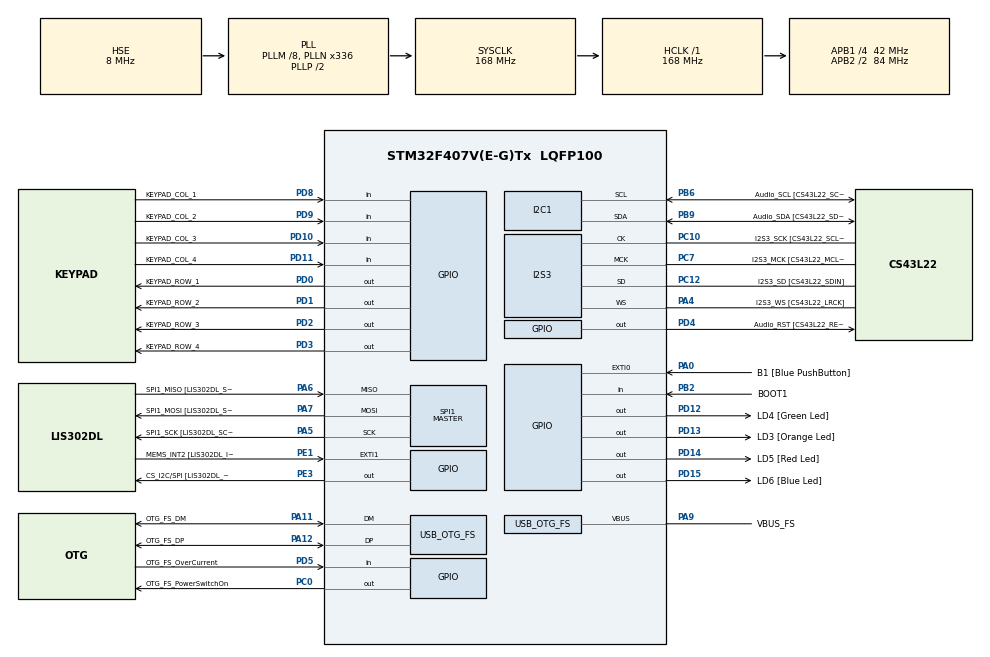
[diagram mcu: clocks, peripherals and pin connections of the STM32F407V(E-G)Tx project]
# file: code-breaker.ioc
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I2S3.AudioFreq-Half_Duplex_Master=I2S_AUDIOFREQ_96K
I2S3.ErrorAudioFreq=-2.34 %
I2S3.ErrorAudioFreq-Half_Duplex_Master=0.8 %
I2S3.FullDuplexMode=I2S_FULLDUPLEXMODE_DISABLE
I2S3.Instance=SPI$Index
I2S3.RealAudioFreq=93.75 KHz
I2S3.RealAudioFreq-Half_Duplex_Master=96.774 KHz
I2S3.VirtualMode=I2S_MODE_MASTER
Mcu.Family=STM32F4
Mcu.Name=STM32F407V(E-G)Tx
Mcu.Package=LQFP100
NVIC.OTG_FS_IRQn=true\:0\:0\:false\:false\:true\:true\:true\:true
NVIC.PriorityGroup=NVIC_PRIORITYGROUP_0
PA0-WKUP.GPIO_Label=B1 [Blue PushButton]
PA0-WKUP.GPIO_ModeDefaultEXTI=GPIO_MODE_EVT_RISING
PA0-WKUP.GPIO_PuPd=GPIO_NOPULL
PA0-WKUP.Signal=GPXTI0
PA10.GPIO_Label=OTG_FS_ID
PA10.GPIO_Mode=GPIO_MODE_AF_PP
PA10.GPIO_PuPd=GPIO_NOPULL
PA10.GPIO_Speed=GPIO_SPEED_FREQ_LOW
PA10.Signal=USB_OTG_FS_ID
PA11.GPIO_Label=OTG_FS_DM
PA11.GPIO_Mode=GPIO_MODE_AF_PP
PA11.GPIO_PuPd=GPIO_NOPULL
PA11.GPIO_Speed=GPIO_SPEED_FREQ_LOW
PA11.Mode=Host_Only
PA11.Signal=USB_OTG_FS_DM
PA12.GPIO_Label=OTG_FS_DP
PA12.GPIO_Mode=GPIO_MODE_AF_PP
PA12.GPIO_PuPd=GPIO_NOPULL
PA12.GPIO_Speed=GPIO_SPEED_FREQ_LOW
PA12.Mode=Host_Only
PA12.Signal=USB_OTG_FS_DP
PA13.GPIO_Label=SWDIO
PA13.Mode=Serial_Wire
PA13.Signal=SYS_JTMS-SWDIO
PA14.GPIO_Label=SWCLK
PA14.Mode=Serial_Wire
PA14.Signal=SYS_JTCK-SWCLK
PA4.GPIO_Label=I2S3_WS [CS43L22_LRCK]
PA4.GPIO_Mode=GPIO_MODE_AF_PP
PA4.GPIO_PuPd=GPIO_NOPULL
PA4.GPIO_Speed=GPIO_SPEED_FREQ_LOW
PA4.Mode=Half_Duplex_Master
PA4.Signal=I2S3_WS
PA5.GPIO_Label=SPI1_SCK [LIS302DL_SCL/SPC]
PA5.GPIO_Mode=GPIO_MODE_AF_PP
PA5.GPIO_PuPd=GPIO_NOPULL
PA5.GPIO_Speed=GPIO_SPEED_FREQ_LOW
PA5.Mode=Full_Duplex_Master
PA5.Signal=SPI1_SCK
PA6.GPIO_Label=SPI1_MISO [LIS302DL_SDO]
PA6.GPIO_Mode=GPIO_MODE_AF_PP
PA6.GPIO_PuPd=GPIO_NOPULL
PA6.GPIO_Speed=GPIO_SPEED_FREQ_LOW
PA6.Mode=Full_Duplex_Master
PA6.Signal=SPI1_MISO
PA7.GPIO_Label=SPI1_MOSI [LIS302DL_SDA/SDI/SDO]
PA7.GPIO_Mode=GPIO_MODE_AF_PP
PA7.GPIO_PuPd=GPIO_NOPULL
PA7.GPIO_Speed=GPIO_SPEED_FREQ_LOW
PA7.Mode=Full_Duplex_Master
PA7.Signal=SPI1_MOSI
PA9.GPIO_Label=VBUS_FS
PA9.GPIO_Mode=GPIO_MODE_INPUT
PA9.GPIO_PuPd=GPIO_NOPULL
PA9.Mode=Activate_VBUS
PA9.Signal=USB_OTG_FS_VBUS
PB10.GPIO_Label=CLK_IN [MP45DT02_CLK]
PB10.GPIO_Mode=GPIO_MODE_AF_PP
PB10.GPIO_PuPd=GPIO_NOPULL
PB10.GPIO_Speed=GPIO_SPEED_FREQ_LOW
PB10.Signal=I2S2_CK
PB2.GPIO_Label=BOOT1
PB2.GPIO_Mode=GPIO_MODE_INPUT
PB2.GPIO_PuPd=GPIO_NOPULL
PB2.Signal=GPIO_Input
PB3.GPIO_Label=SWO
PB3.Signal=SYS_JTDO-SWO
PB6.GPIO_Label=Audio_SCL [CS43L22_SCL]
PB6.GPIO_Mode=GPIO_MODE_AF_OD
PB6.GPIO_Pu=GPIO_PULLUP
PB6.GPIO_PuPd=GPIO_NOPULL
PB6.GPIO_Speed=GPIO_SPEED_FREQ_LOW
PB6.Mode=I2C
PB6.Signal=I2C1_SCL
PB9.GPIO_Label=Audio_SDA [CS43L22_SDA]
PB9.GPIO_Mode=GPIO_MODE_AF_OD
PB9.GPIO_Pu=GPIO_PULLUP
PB9.GPIO_PuPd=GPIO_NOPULL
PB9.GPIO_Speed=GPIO_SPEED_FREQ_LOW
PB9.Mode=I2C
PB9.Signal=I2C1_SDA
PC0.GPIO_Label=OTG_FS_PowerSwitchOn
PC0.GPIO_PuPd=GPIO_NOPULL
PC0.GPIO_Speed=GPIO_SPEED_FREQ_LOW
PC0.PinState=GPIO_PIN_SET
PC0.Signal=GPIO_Output
PC10.GPIO_Label=I2S3_SCK [CS43L22_SCLK]
PC10.GPIO_Mode=GPIO_MODE_AF_PP
PC10.GPIO_PuPd=GPIO_NOPULL
PC10.GPIO_Speed=GPIO_SPEED_FREQ_LOW
PC10.Mode=Half_Duplex_Master
PC10.Signal=I2S3_CK
PC12.GPIO_Label=I2S3_SD [CS43L22_SDIN]
PC12.GPIO_Mode=GPIO_MODE_AF_PP
PC12.GPIO_PuPd=GPIO_NOPULL
PC12.GPIO_Speed=GPIO_SPEED_FREQ_LOW
PC12.Mode=Half_Duplex_Master
PC12.Signal=I2S3_SD
PC14-OSC32_IN.GPIO_Label=PC14-OSC32_IN
PC14-OSC32_IN.Mode=LSE-External-Oscillator
PC14-OSC32_IN.Signal=RCC_OSC32_IN
PC15-OSC32_OUT.GPIO_Label=PC15-OSC32_OUT
PC15-OSC32_OUT.Mode=LSE-External-Oscillator
PC15-OSC32_OUT.Signal=RCC_OSC32_OUT
PC3.GPIO_Label=PDM_OUT [MP45DT02_DOUT]
PC3.GPIO_Mode=GPIO_MODE_AF_PP
PC3.GPIO_PuPd=GPIO_NOPULL
PC3.GPIO_Speed=GPIO_SPEED_FREQ_LOW
PC3.Signal=I2S2_SD
PC7.GPIO_Label=I2S3_MCK [CS43L22_MCLK]
PC7.GPIO_Mode=GPIO_MODE_AF_PP
PC7.GPIO_PuPd=GPIO_NOPULL
PC7.GPIO_Speed=GPIO_SPEED_FREQ_LOW
PC7.Mode=Master_Clock_Activated
PC7.Signal=I2S3_MCK
PD0.GPIO_Label=KEYPAD_ROW_1
PD0.GPIO_ModeDefaultOutputPP=GPIO_MODE_OUTPUT_OD
PD0.GPIO_PuPd=GPIO_NOPULL
PD0.PinState=GPIO_PIN_SET
PD0.Signal=GPIO_Output
PD1.GPIO_Label=KEYPAD_ROW_2
PD1.GPIO_ModeDefaultOutputPP=GPIO_MODE_OUTPUT_OD
PD1.GPIO_PuPd=GPIO_NOPULL
PD1.PinState=GPIO_PIN_SET
PD1.Signal=GPIO_Output
PD10.GPIO_Label=KEYPAD_COL_3
PD10.GPIO_PuPd=GPIO_PULLUP
PD10.Signal=GPIO_Input
PD11.GPIO_Label=KEYPAD_COL_4
PD11.GPIO_PuPd=GPIO_PULLUP
PD11.Signal=GPIO_Input
PD12.GPIO_Label=LD4 [Green Led]
PD12.GPIO_PuPd=GPIO_NOPULL
PD12.GPIO_Speed=GPIO_SPEED_FREQ_LOW
PD12.Signal=GPIO_Output
PD13.GPIO_Label=LD3 [Orange Led]
PD13.GPIO_PuPd=GPIO_NOPULL
PD13.GPIO_Speed=GPIO_SPEED_FREQ_LOW
PD13.Signal=GPIO_Output
PD14.GPIO_Label=LD5 [Red Led]
PD14.GPIO_PuPd=GPIO_NOPULL
PD14.GPIO_Speed=GPIO_SPEED_FREQ_LOW
PD14.Signal=GPIO_Output
PD15.GPIO_Label=LD6 [Blue Led]
PD15.GPIO_PuPd=GPIO_NOPULL
PD15.GPIO_Speed=GPIO_SPEED_FREQ_LOW
PD15.Signal=GPIO_Output
PD2.GPIO_Label=KEYPAD_ROW_3
PD2.GPIO_ModeDefaultOutputPP=GPIO_MODE_OUTPUT_OD
PD2.GPIO_PuPd=GPIO_NOPULL
PD2.PinState=GPIO_PIN_SET
PD2.Signal=GPIO_Output
PD3.GPIO_Label=KEYPAD_ROW_4
PD3.GPIO_ModeDefaultOutputPP=GPIO_MODE_OUTPUT_OD
PD3.GPIO_PuPd=GPIO_NOPULL
PD3.PinState=GPIO_PIN_SET
PD3.Signal=GPIO_Output
PD4.GPIO_Label=Audio_RST [CS43L22_RESET]
PD4.GPIO_PuPd=GPIO_NOPULL
PD4.GPIO_Speed=GPIO_SPEED_FREQ_LOW
PD4.Signal=GPIO_Output
PD5.GPIO_Label=OTG_FS_OverCurrent
PD5.GPIO_Mode=GPIO_MODE_INPUT
PD5.GPIO_PuPd=GPIO_NOPULL
PD5.Signal=GPIO_Input
PD8.GPIO_Label=KEYPAD_COL_1
PD8.GPIO_PuPd=GPIO_PULLUP
PD8.Signal=GPIO_Input
PD9.GPIO_Label=KEYPAD_COL_2
PD9.GPIO_PuPd=GPIO_PULLUP
PD9.Signal=GPIO_Input
PE1.GPIO_Label=MEMS_INT2 [LIS302DL_INT2]
PE1.GPIO_ModeDefaultEXTI=GPIO_MODE_EVT_RISING
PE1.GPIO_PuPd=GPIO_NOPULL
PE1.Signal=GPXTI1
PE3.GPIO_Label=CS_I2C/SPI [LIS302DL_CS_I2C/SPI]
PE3.GPIO_PuPd=GPIO_NOPULL
PE3.GPIO_Speed=GPIO_SPEED_FREQ_LOW
PE3.Signal=GPIO_Output
PH0-OSC_IN.GPIO_Label=PH0-OSC_IN
PH0-OSC_IN.Mode=HSE-External-Oscillator
PH0-OSC_IN.Signal=RCC_OSC_IN
PH1-OSC_OUT.GPIO_Label=PH1-OSC_OUT
PH1-OSC_OUT.Mode=HSE-External-Oscillator
PH1-OSC_OUT.Signal=RCC_OSC_OUT
ProjectManager.HeapSize=0x200
ProjectManager.StackSize=0x400
ProjectManager.TargetToolchain=CMake
RCC.48MHZClocksFreq_Value=48000000
RCC.AHBFreq_Value=168000000
RCC.APB1CLKDivider=RCC_HCLK_DIV4
RCC.APB1Freq_Value=42000000
RCC.APB1TimFreq_Value=84000000
RCC.APB2CLKDivider=RCC_HCLK_DIV2
RCC.APB2Freq_Value=84000000
RCC.APB2TimFreq_Value=168000000
RCC.CortexFreq_Value=168000000
RCC.HCLKFreq_Value=168000000
RCC.HSE_VALUE=8000000
RCC.HSI_VALUE=16000000
RCC.PLLM=8
RCC.PLLN=336
RCC.PLLQ=7
RCC.SYSCLKFreq_VALUE=168000000
RCC.SYSCLKSource=RCC_SYSCLKSOURCE_PLLCLK
RCC.VCOOutputFreq_Value=336000000
SPI1.BaudRatePrescaler-Full_Duplex_Master=SPI_BAUDRATEPRESCALER_2
SPI1.CalculateBaudRate-Full_Duplex_Master=42.0 MBits/s
SPI1.Direction=SPI_DIRECTION_2LINES
SPI1.Mode=SPI_MODE_MASTER
SPI1.Mode-Full_Duplex_Master=SPI_MODE_MASTER
SPI1.VirtualType=VM_MASTER
USB_HOST.BSP.number=1
USB_HOST.USBH_HandleTypeDef-CDC_FS=hUsbHostFS
USB_HOST.VirtualModeFS=Cdc
USB_HOST0.BSP.STBoard=false
USB_HOST0.BSP.api=Unknown
USB_HOST0.BSP.instance=PC0
USB_HOST0.BSP.ip=GPIO
USB_HOST0.BSP.mode=Output
USB_HOST0.BSP.name=Drive_VBUS_FS
USB_HOST0.BSP.solution=PC0
USB_OTG_FS.VirtualMode=Host_Only
USB_OTG_FS.phy_itface=HCD_PHY_EMBEDDED
VP_RNG_VS_RNG.Mode=RNG_Activate
VP_USB_HOST_VS_USB_HOST_CDC_FS.Mode=CDC_FS
board=STM32F407G-DISC1

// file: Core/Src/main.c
/* USER CODE BEGIN Header */
/**
  ******************************************************************************
  * @file           : main.c
  * @brief          : Main program body
  ******************************************************************************
  * @attention
  *
  * Copyright (c) 2026 STMicroelectronics.
  * All rights reserved.
  *
  * This software is licensed under terms that can be found in the LICENSE file
  * in the root directory of this software component.
  * If no LICENSE file comes with this software, it is provided AS-IS.
  *
  ******************************************************************************
  */
/* USER CODE END Header */
#include "main.h"
#include "usb_host.h"

/* USER CODE BEGIN Includes */
#include "keypad.h"
/* USER CODE END Includes */

/* USER CODE BEGIN PTD */
typedef enum {
    GUESSER_PLAYING,
    GUESSER_ERROR_BLINK,
    GUESSER_WIN_BLINK,
} GuesserPhase;

/* USER CODE END PTD */

/* USER CODE BEGIN PD */
#define GUESSER_SECRET_LEN       4U
#define GUESSER_LEDS_MASK        (LD3_Pin | LD4_Pin | LD5_Pin | LD6_Pin)
#define GUESSER_BLINK_PERIOD_MS  120U
#define GUESSER_ERROR_BLINKS     2U
#define GUESSER_WIN_BLINKS       8U

/* USER CODE END PD */

I2C_HandleTypeDef hi2c1;

I2S_HandleTypeDef hi2s3;

RNG_HandleTypeDef hrng;

SPI_HandleTypeDef hspi1;

/* USER CODE BEGIN PV */
static const uint16_t guesser_pins[GUESSER_SECRET_LEN] = {LD3_Pin, LD4_Pin, LD6_Pin, LD5_Pin};
static GPIO_TypeDef *const guesser_port = GPIOD;

static uint8_t guesser_secret[GUESSER_SECRET_LEN];
static uint32_t guesser_progress = 0;

static GuesserPhase guesser_phase = GUESSER_PLAYING;
static uint32_t guesser_blink_tick = 0;
static uint32_t guesser_blink_toggles_left = 0;

/* USER CODE END PV */

static void SystemClock_Config(void);

static void MX_GPIO_Init(void);

static void MX_I2C1_Init(void);

static void MX_I2S3_Init(void);

static void MX_SPI1_Init(void);

static void MX_RNG_Init(void);

/* USER CODE BEGIN PFP */
static void Guesser_Refresh(void);

static void Guesser_Check(Key key);

static void Guesser_Task(void);

/* USER CODE END PFP */

int main(void) {

    /* MCU Configuration--------------------------------------------------------*/

    /* Reset of all peripherals, Initializes the Flash interface and the Systick. */
    HAL_Init();

    /* Configure the system clock */
    SystemClock_Config();

    /* Initialize all configured peripherals */
    MX_GPIO_Init();
    MX_I2C1_Init();
    MX_I2S3_Init();
    MX_SPI1_Init();
    MX_USB_HOST_Init();
    MX_RNG_Init();
    /* USER CODE BEGIN 2 */
    Keypad_Init();
    Guesser_Refresh();
    /* USER CODE END 2 */

    /* Infinite loop */
    while (1) {
        MX_USB_HOST_Process();

        /* USER CODE BEGIN 3 */
        Guesser_Check(Keypad_Poll());
        Guesser_Task();
    }
    /* USER CODE END 3 */
}

void SystemClock_Config(void) {
    RCC_OscInitTypeDef RCC_OscInitStruct = {0};
    RCC_ClkInitTypeDef RCC_ClkInitStruct = {0};

    /** Configure the main internal regulator output voltage
    */
    __HAL_RCC_PWR_CLK_ENABLE();
    __HAL_PWR_VOLTAGESCALING_CONFIG(PWR_REGULATOR_VOLTAGE_SCALE1);

    /** Initializes the RCC Oscillators according to the specified parameters
    * in the RCC_OscInitTypeDef structure.
    */
    RCC_OscInitStruct.OscillatorType = RCC_OSCILLATORTYPE_HSE;
    RCC_OscInitStruct.HSEState = RCC_HSE_ON;
    RCC_OscInitStruct.PLL.PLLState = RCC_PLL_ON;
    RCC_OscInitStruct.PLL.PLLSource = RCC_PLLSOURCE_HSE;
    RCC_OscInitStruct.PLL.PLLM = 8;
    RCC_OscInitStruct.PLL.PLLN = 336;
    RCC_OscInitStruct.PLL.PLLP = RCC_PLLP_DIV2;
    RCC_OscInitStruct.PLL.PLLQ = 7;
    if (HAL_RCC_OscConfig(&RCC_OscInitStruct) != HAL_OK) {
        Error_Handler();
    }

    /** Initializes the CPU, AHB and APB buses clocks
    */
    RCC_ClkInitStruct.ClockType = RCC_CLOCKTYPE_HCLK | RCC_CLOCKTYPE_SYSCLK | RCC_CLOCKTYPE_PCLK1 | RCC_CLOCKTYPE_PCLK2;
    RCC_ClkInitStruct.SYSCLKSource = RCC_SYSCLKSOURCE_PLLCLK;
    RCC_ClkInitStruct.AHBCLKDivider = RCC_SYSCLK_DIV1;
    RCC_ClkInitStruct.APB1CLKDivider = RCC_HCLK_DIV4;
    RCC_ClkInitStruct.APB2CLKDivider = RCC_HCLK_DIV2;

    if (HAL_RCC_ClockConfig(&RCC_ClkInitStruct, FLASH_LATENCY_5) != HAL_OK) {
        Error_Handler();
    }
}

static void MX_I2C1_Init(void) {

    hi2c1.Instance = I2C1;
    hi2c1.Init.ClockSpeed = 100000;
    hi2c1.Init.DutyCycle = I2C_DUTYCYCLE_2;
    hi2c1.Init.OwnAddress1 = 0;
    hi2c1.Init.AddressingMode = I2C_ADDRESSINGMODE_7BIT;
    hi2c1.Init.DualAddressMode = I2C_DUALADDRESS_DISABLE;
    hi2c1.Init.OwnAddress2 = 0;
    hi2c1.Init.GeneralCallMode = I2C_GENERALCALL_DISABLE;
    hi2c1.Init.NoStretchMode = I2C_NOSTRETCH_DISABLE;
    if (HAL_I2C_Init(&hi2c1) != HAL_OK) {
        Error_Handler();
    }
}

static void MX_I2S3_Init(void) {

    hi2s3.Instance = SPI3;
    hi2s3.Init.Mode = I2S_MODE_MASTER_TX;
    hi2s3.Init.Standard = I2S_STANDARD_PHILIPS;
    hi2s3.Init.DataFormat = I2S_DATAFORMAT_16B;
    hi2s3.Init.MCLKOutput = I2S_MCLKOUTPUT_ENABLE;
    hi2s3.Init.AudioFreq = I2S_AUDIOFREQ_96K;
    hi2s3.Init.CPOL = I2S_CPOL_LOW;
    hi2s3.Init.ClockSource = I2S_CLOCK_PLL;
    hi2s3.Init.FullDuplexMode = I2S_FULLDUPLEXMODE_DISABLE;
    if (HAL_I2S_Init(&hi2s3) != HAL_OK) {
        Error_Handler();
    }
}

static void MX_RNG_Init(void) {

    hrng.Instance = RNG;
    if (HAL_RNG_Init(&hrng) != HAL_OK) {
        Error_Handler();
    }
}

static void MX_SPI1_Init(void) {

    /* SPI1 parameter configuration*/
    hspi1.Instance = SPI1;
    hspi1.Init.Mode = SPI_MODE_MASTER;
    hspi1.Init.Direction = SPI_DIRECTION_2LINES;
    hspi1.Init.DataSize = SPI_DATASIZE_8BIT;
    hspi1.Init.CLKPolarity = SPI_POLARITY_LOW;
    hspi1.Init.CLKPhase = SPI_PHASE_1EDGE;
    hspi1.Init.NSS = SPI_NSS_SOFT;
    hspi1.Init.BaudRatePrescaler = SPI_BAUDRATEPRESCALER_2;
    hspi1.Init.FirstBit = SPI_FIRSTBIT_MSB;
    hspi1.Init.TIMode = SPI_TIMODE_DISABLE;
    hspi1.Init.CRCCalculation = SPI_CRCCALCULATION_DISABLE;
    hspi1.Init.CRCPolynomial = 10;
    if (HAL_SPI_Init(&hspi1) != HAL_OK) {
        Error_Handler();
    }
}

static void MX_GPIO_Init(void) {
    GPIO_InitTypeDef GPIO_InitStruct = {0};

    /* GPIO Ports Clock Enable */
    __HAL_RCC_GPIOE_CLK_ENABLE();
    __HAL_RCC_GPIOC_CLK_ENABLE();
    __HAL_RCC_GPIOH_CLK_ENABLE();
    __HAL_RCC_GPIOA_CLK_ENABLE();
    __HAL_RCC_GPIOB_CLK_ENABLE();
    __HAL_RCC_GPIOD_CLK_ENABLE();

    /*Configure GPIO pin Output Level */
    HAL_GPIO_WritePin(CS_I2C_SPI_GPIO_Port, CS_I2C_SPI_Pin, GPIO_PIN_RESET);

    /*Configure GPIO pin Output Level */
    HAL_GPIO_WritePin(OTG_FS_PowerSwitchOn_GPIO_Port, OTG_FS_PowerSwitchOn_Pin, GPIO_PIN_SET);

    /*Configure GPIO pin Output Level */
    HAL_GPIO_WritePin(GPIOD, LD4_Pin | LD3_Pin | LD5_Pin | LD6_Pin | Audio_RST_Pin, GPIO_PIN_RESET);

    /*Configure GPIO pin Output Level */
    HAL_GPIO_WritePin(GPIOD, KEYPAD_ROW_1_Pin | KEYPAD_ROW_2_Pin | KEYPAD_ROW_3_Pin | KEYPAD_ROW_4_Pin, GPIO_PIN_SET);

    /*Configure GPIO pin : CS_I2C_SPI_Pin */
    GPIO_InitStruct.Pin = CS_I2C_SPI_Pin;
    GPIO_InitStruct.Mode = GPIO_MODE_OUTPUT_PP;
    GPIO_InitStruct.Pull = GPIO_NOPULL;
    GPIO_InitStruct.Speed = GPIO_SPEED_FREQ_LOW;
    HAL_GPIO_Init(CS_I2C_SPI_GPIO_Port, &GPIO_InitStruct);

    /*Configure GPIO pin : OTG_FS_PowerSwitchOn_Pin */
    GPIO_InitStruct.Pin = OTG_FS_PowerSwitchOn_Pin;
    GPIO_InitStruct.Mode = GPIO_MODE_OUTPUT_PP;
    GPIO_InitStruct.Pull = GPIO_NOPULL;
    GPIO_InitStruct.Speed = GPIO_SPEED_FREQ_LOW;
    HAL_GPIO_Init(OTG_FS_PowerSwitchOn_GPIO_Port, &GPIO_InitStruct);

    /*Configure GPIO pin : PDM_OUT_Pin */
    GPIO_InitStruct.Pin = PDM_OUT_Pin;
    GPIO_InitStruct.Mode = GPIO_MODE_AF_PP;
    GPIO_InitStruct.Pull = GPIO_NOPULL;
    GPIO_InitStruct.Speed = GPIO_SPEED_FREQ_LOW;
    GPIO_InitStruct.Alternate = GPIO_AF5_SPI2;
    HAL_GPIO_Init(PDM_OUT_GPIO_Port, &GPIO_InitStruct);

    /*Configure GPIO pin : B1_Pin */
    GPIO_InitStruct.Pin = B1_Pin;
    GPIO_InitStruct.Mode = GPIO_MODE_EVT_RISING;
    GPIO_InitStruct.Pull = GPIO_NOPULL;
    HAL_GPIO_Init(B1_GPIO_Port, &GPIO_InitStruct);

    /*Configure GPIO pin : BOOT1_Pin */
    GPIO_InitStruct.Pin = BOOT1_Pin;
    GPIO_InitStruct.Mode = GPIO_MODE_INPUT;
    GPIO_InitStruct.Pull = GPIO_NOPULL;
    HAL_GPIO_Init(BOOT1_GPIO_Port, &GPIO_InitStruct);

    /*Configure GPIO pin : CLK_IN_Pin */
    GPIO_InitStruct.Pin = CLK_IN_Pin;
    GPIO_InitStruct.Mode = GPIO_MODE_AF_PP;
    GPIO_InitStruct.Pull = GPIO_NOPULL;
    GPIO_InitStruct.Speed = GPIO_SPEED_FREQ_LOW;
    GPIO_InitStruct.Alternate = GPIO_AF5_SPI2;
    HAL_GPIO_Init(CLK_IN_GPIO_Port, &GPIO_InitStruct);

    /*Configure GPIO pins : KEYPAD_COL_1_Pin KEYPAD_COL_2_Pin KEYPAD_COL_3_Pin KEYPAD_COL_4_Pin */
    GPIO_InitStruct.Pin = KEYPAD_COL_1_Pin | KEYPAD_COL_2_Pin | KEYPAD_COL_3_Pin | KEYPAD_COL_4_Pin;
    GPIO_InitStruct.Mode = GPIO_MODE_INPUT;
    GPIO_InitStruct.Pull = GPIO_PULLUP;
    HAL_GPIO_Init(GPIOD, &GPIO_InitStruct);

    /*Configure GPIO pins : LD4_Pin LD3_Pin LD5_Pin LD6_Pin Audio_RST_Pin */
    GPIO_InitStruct.Pin = LD4_Pin | LD3_Pin | LD5_Pin | LD6_Pin
                          | Audio_RST_Pin;
    GPIO_InitStruct.Mode = GPIO_MODE_OUTPUT_PP;
    GPIO_InitStruct.Pull = GPIO_NOPULL;
    GPIO_InitStruct.Speed = GPIO_SPEED_FREQ_LOW;
    HAL_GPIO_Init(GPIOD, &GPIO_InitStruct);

    /*Configure GPIO pins : KEYPAD_ROW_1_Pin KEYPAD_ROW_2_Pin KEYPAD_ROW_3_Pin KEYPAD_ROW_4_Pin */
    GPIO_InitStruct.Pin = KEYPAD_ROW_1_Pin | KEYPAD_ROW_2_Pin | KEYPAD_ROW_3_Pin | KEYPAD_ROW_4_Pin;
    GPIO_InitStruct.Mode = GPIO_MODE_OUTPUT_OD;
    GPIO_InitStruct.Pull = GPIO_NOPULL;
    GPIO_InitStruct.Speed = GPIO_SPEED_FREQ_LOW;
    HAL_GPIO_Init(GPIOD, &GPIO_InitStruct);

    /*Configure GPIO pin : OTG_FS_OverCurrent_Pin */
    GPIO_InitStruct.Pin = OTG_FS_OverCurrent_Pin;
    GPIO_InitStruct.Mode = GPIO_MODE_INPUT;
    GPIO_InitStruct.Pull = GPIO_NOPULL;
    HAL_GPIO_Init(OTG_FS_OverCurrent_GPIO_Port, &GPIO_InitStruct);

    /*Configure GPIO pin : MEMS_INT2_Pin */
    GPIO_InitStruct.Pin = MEMS_INT2_Pin;
    GPIO_InitStruct.Mode = GPIO_MODE_EVT_RISING;
    GPIO_InitStruct.Pull = GPIO_NOPULL;
    HAL_GPIO_Init(MEMS_INT2_GPIO_Port, &GPIO_InitStruct);

}

/* USER CODE BEGIN 4 */
static uint8_t Guesser_RandomDigit(void) {
    const uint32_t limit = UINT32_MAX - (UINT32_MAX % 10U);
    uint32_t random;

    do {
        if (HAL_RNG_GenerateRandomNumber(&hrng, &random) != HAL_OK) {
            Error_Handler();
        }
    } while (random >= limit);

    return (uint8_t) (random % 10U);
}

static void Guesser_Refresh(void) {
    for (uint32_t i = 0; i < GUESSER_SECRET_LEN; i++) {
        guesser_secret[i] = Guesser_RandomDigit();
    }

    guesser_progress = 0;
    guesser_phase = GUESSER_PLAYING;
    HAL_GPIO_WritePin(guesser_port, GUESSER_LEDS_MASK, GPIO_PIN_RESET);
}

static int32_t Key_ToDigit(const Key key) {
    switch (key) {
        case KEY_0: return 0;
        case KEY_1: return 1;
        case KEY_2: return 2;
        case KEY_3: return 3;
        case KEY_4: return 4;
        case KEY_5: return 5;
        case KEY_6: return 6;
        case KEY_7: return 7;
        case KEY_8: return 8;
        case KEY_9: return 9;
        default: return -1;
    }
}

static void Guesser_ShowProgress(void) {
    HAL_GPIO_WritePin(guesser_port, GUESSER_LEDS_MASK, GPIO_PIN_RESET);
    for (uint32_t i = 0; i < guesser_progress; i++) {
        HAL_GPIO_WritePin(guesser_port, guesser_pins[i], GPIO_PIN_SET);
    }
}

static void Guesser_StartBlink(const GuesserPhase phase, const uint32_t blinks) {
    if (phase == GUESSER_PLAYING) return;

    guesser_phase = phase;
    guesser_blink_toggles_left = blinks * 2U - 1U;
    guesser_blink_tick = HAL_GetTick();
    HAL_GPIO_WritePin(guesser_port, GUESSER_LEDS_MASK, GPIO_PIN_SET);
}

static void Guesser_Task(void) {
    if (guesser_phase == GUESSER_PLAYING) return;

    const uint32_t now = HAL_GetTick();
    if (now - guesser_blink_tick < GUESSER_BLINK_PERIOD_MS) return;
    guesser_blink_tick = now;

    if (guesser_blink_toggles_left > 0) {
        HAL_GPIO_TogglePin(guesser_port, GUESSER_LEDS_MASK);
        guesser_blink_toggles_left--;
        return;
    }

    if (guesser_phase == GUESSER_WIN_BLINK) {
        Guesser_Refresh();
    } else {
        guesser_phase = GUESSER_PLAYING;
        Guesser_ShowProgress();
    }
}

static void Guesser_Check(const Key key) {
    if (guesser_phase != GUESSER_PLAYING) return;

    const int32_t digit = Key_ToDigit(key);
    if (digit == -1) return;

    if (guesser_secret[guesser_progress] == digit) {
        HAL_GPIO_WritePin(guesser_port, guesser_pins[guesser_progress], GPIO_PIN_SET);
        guesser_progress++;

        if (guesser_progress == GUESSER_SECRET_LEN) {
            Guesser_StartBlink(GUESSER_WIN_BLINK, GUESSER_WIN_BLINKS);
        }
    } else {
        guesser_progress = 0;
        Guesser_StartBlink(GUESSER_ERROR_BLINK, GUESSER_ERROR_BLINKS);
    }
}

/* USER CODE END 4 */

void Error_Handler(void) {
    __disable_irq();
    while (1) {
    }
}
